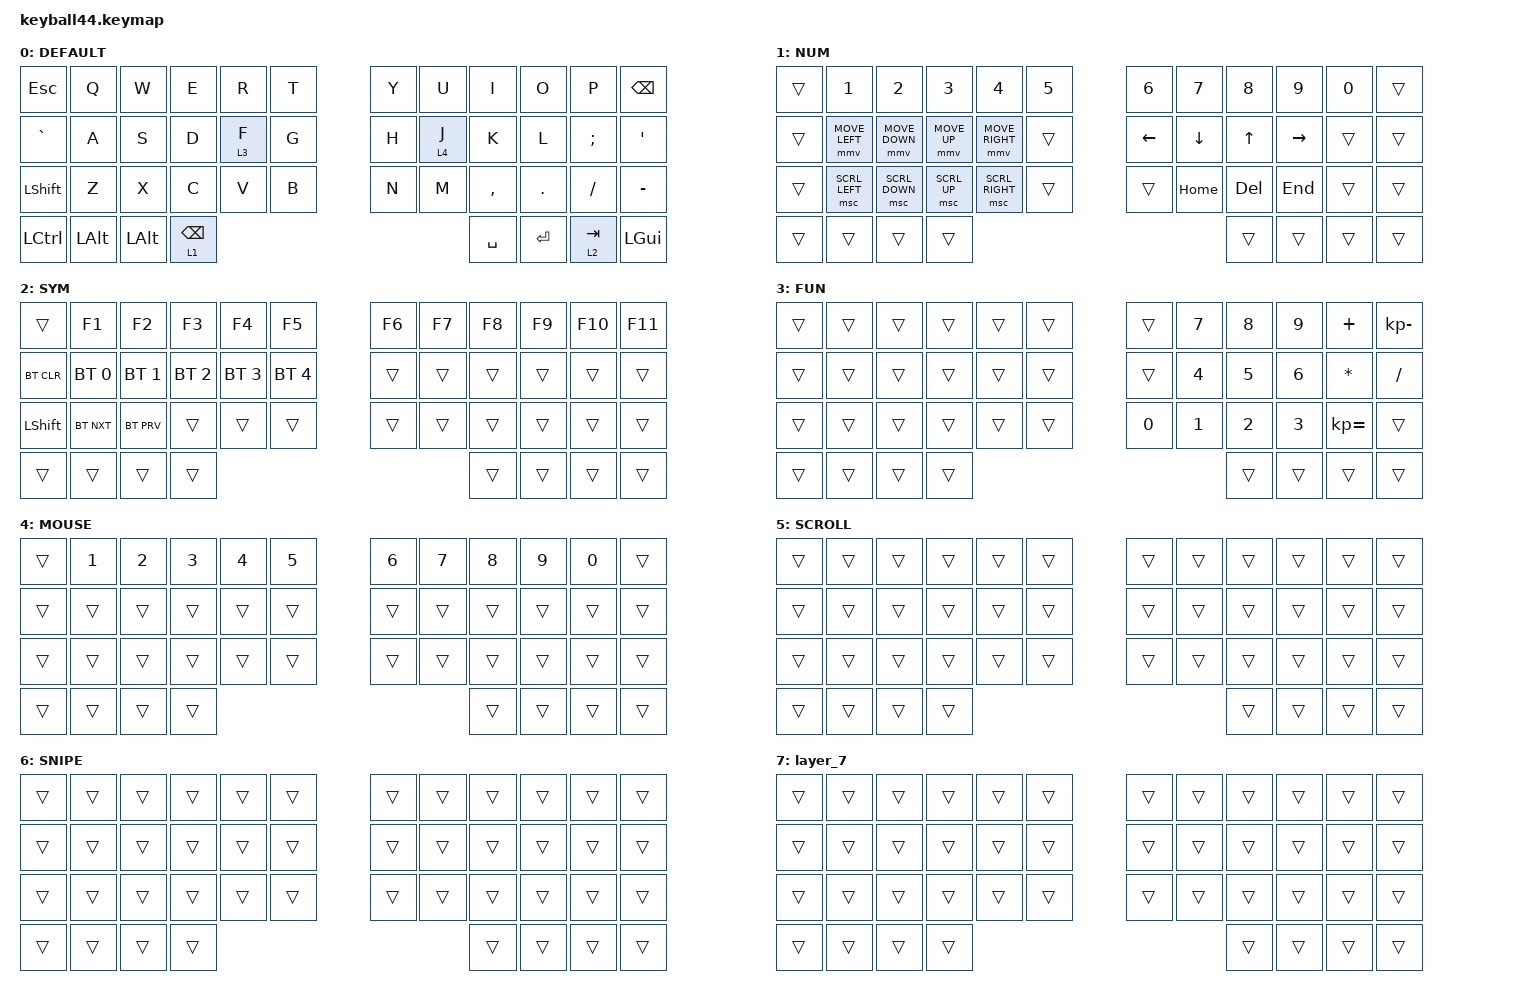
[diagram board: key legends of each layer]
#define DEFAULT 0
#define NUM     1
#define SYM     2
#define FUN     3
#define MOUSE   4
#define SCROLL  5
#define SNIPE   6

#include <behaviors/mouse_keys.dtsi>
#include <dt-bindings/zmk/mouse.h>
#include <behaviors.dtsi>
#include <dt-bindings/zmk/bt.h>
#include <dt-bindings/zmk/keys.h>
// #include <dt-bindings/zmk/pointing.h>

&lt {
    tapping-term-ms = <240>;
    flavor = "balanced";
    quick-tap-ms = <150>;
};

&mt {
    tapping-term-ms = <200>;
    flavor = "tap-preferred";
    quick-tap-ms = <150>;
};

&caps_word { continue-list = <UNDERSCORE MINUS>; };

/ {
    // custom shift using mod-morph 

    behaviors {
        cmqus: comma_question {
            compatible = "zmk,behavior-mod-morph";
            label = "COMMA_QUESTION";
            #binding-cells = <0>;
            bindings = <&kp COMMA>, <&kp QUESTION>;

            mods = <(MOD_LSFT|MOD_RSFT)>;
        };

        dtsmi: dot_semi {
            compatible = "zmk,behavior-mod-morph";
            label = "DOT_SEMI";
            #binding-cells = <0>;
            bindings = <&kp DOT>, <&kp SEMI>;

            mods = <(MOD_LSFT|MOD_RSFT)>;
        };
    };

    keymap {
        compatible = "zmk,keymap";

        default_layer {
            label = "DEFAULT";

            // -----------------------------------------------------------------------------------------
            // |  TAB |  Q  |  W  |  E  |  R  |  T  |   |  Y  |  U   |  I  |  O  |  P  | BKSP |
            // | CTRL |  A  |  S  |  D  |  F  |  G  |   |  H  |  J   |  K  |  L  |  ;  |  '   |
            // | SHFT |  Z  |  X  |  C  |  V  |  B  |   |  N  |  M   |  ,  |  .  |  /  | ESC  |
            //                    | GUI | LWR | SPC |   | ENT | RSE  | ALT |

            bindings = <
&kp ESCAPE      &kp Q     &kp W     &kp E            &kp R      &kp T                 &kp Y      &kp U    &kp I      &kp O    &kp P     &kp BSPC
&kp GRAVE       &kp A     &kp S     &kp D            &lt 3 F    &kp G                 &kp H      &lt 4 J  &kp K      &kp L    &kp SEMI  &kp SQT
&kp LEFT_SHIFT  &kp Z     &kp X     &kp C            &kp V      &kp B                 &kp N      &kp M    &kp COMMA  &kp DOT  &kp FSLH  &kp MINUS
&kp LCTRL       &kp LALT  &kp LALT  &lt 1 BACKSPACE  &kp SPACE             &kp ENTER  &lt 2 TAB                                         &kp LEFT_GUI
            >;
        };

        number_layer {
            label = "NUM";

            // -----------------------------------------------------------------------------------------
            // |  TAB |  !  |  @  |  #  |  $  |  %  |   |  ^  |  &  |  *  |  (  |  )  | BKSP |
            // | CTRL |     |     |     |     |     |   |  -  |  =  |  [  |  ]  |  \  |  `   |
            // | SHFT |     |     |     |     |     |   |  _  |  +  |  {  |  }  | "|" |  ~   |
            //                    | GUI |     | SPC |   | ENT |     | ALT |

            bindings = <
&trans  &kp NUMBER_1    &kp NUMBER_2    &kp NUMBER_3  &kp NUMBER_4     &kp N5              &kp NUMBER_6  &kp N7    &kp N8   &kp N9     &kp N0  &trans
&trans  &mmv MOVE_LEFT  &mmv MOVE_DOWN  &mmv MOVE_UP  &mmv MOVE_RIGHT  &trans              &kp LEFT      &kp DOWN  &kp UP   &kp RIGHT  &trans  &trans
&trans  &msc SCRL_LEFT  &msc SCRL_DOWN  &msc SCRL_UP  &msc SCRL_RIGHT  &trans              &trans        &kp HOME  &kp DEL  &kp END    &trans  &trans
&trans  &trans          &trans          &trans        &trans                       &trans  &trans                                              &trans
            >;
        };

        function_layer {
            label = "SYM";

            // -----------------------------------------------------------------------------------------
            // |  TAB |  1  |  2  |  3  |  4  |  5  |   |  6  |  7  |  8  |  9  |  0  | BKSP |
            // | BTCLR| BT1 | BT2 | BT3 | BT4 | BT5 |   | LFT | DWN |  UP | RGT |     |      |
            // | SHFT |     |     |     |     |     |   |     |     |     |     |     |      |
            //                    | GUI |     | SPC |   | ENT |     | ALT |

            bindings = <
&trans      &kp F1        &kp F2        &kp F3        &kp F4        &kp F5                    &kp F6  &kp F7  &kp F8  &kp F9  &kp F10  &kp F11
&bt BT_CLR  &bt BT_SEL 0  &bt BT_SEL 1  &bt BT_SEL 2  &bt BT_SEL 3  &bt BT_SEL 4              &trans  &trans  &trans  &trans  &trans   &trans
&kp LSHFT   &bt BT_NXT    &bt BT_PRV    &trans        &trans        &trans                    &trans  &trans  &trans  &trans  &trans   &trans
&trans      &trans        &trans        &trans        &trans                          &trans  &trans                                   &trans
            >;
        };

        layer3 {
            label = "FUN";
            bindings = <
&trans  &trans  &trans  &trans  &trans  &trans              &trans  &kp N7        &kp N8        &kp N9        &kp PLUS      &kp KP_SUBTRACT
&trans  &trans  &trans  &trans  &trans  &trans              &trans  &kp NUMBER_4  &kp N5        &kp NUMBER_6  &kp ASTRK     &kp SLASH
&trans  &trans  &trans  &trans  &trans  &trans              &kp N0  &kp NUMBER_1  &kp NUMBER_2  &kp NUMBER_3  &kp KP_EQUAL  &trans
&trans  &trans  &trans  &trans  &trans              &trans  &trans                                                          &trans
            >;
        };

        mouse_layer {
            label = "MOUSE";
            bindings = <
&trans  &kp NUMBER_1  &kp NUMBER_2  &kp NUMBER_3  &kp NUMBER_4  &kp N5              &kp NUMBER_6  &kp N7  &kp N8  &kp N9  &kp N0  &trans
&trans  &trans        &trans        &trans        &trans        &trans              &trans        &trans  &trans  &trans  &trans  &trans
&trans  &trans        &trans        &trans        &trans        &trans              &trans        &trans  &trans  &trans  &trans  &trans
&trans  &trans        &trans        &trans        &trans                    &trans  &trans                                        &trans
            >;
        };

        scroll_layer {
            label = "SCROLL";
            bindings = <
&trans  &trans  &trans  &trans  &trans  &trans              &trans  &trans  &trans  &trans  &trans  &trans
&trans  &trans  &trans  &trans  &trans  &trans              &trans  &trans  &trans  &trans  &trans  &trans
&trans  &trans  &trans  &trans  &trans  &trans              &trans  &trans  &trans  &trans  &trans  &trans
&trans  &trans  &trans  &trans  &trans              &trans  &trans                                  &trans
            >;
        };

        snipe_layer {
            label = "SNIPE";
            bindings = <
&trans  &trans  &trans  &trans  &trans  &trans              &trans  &trans  &trans  &trans  &trans  &trans
&trans  &trans  &trans  &trans  &trans  &trans              &trans  &trans  &trans  &trans  &trans  &trans
&trans  &trans  &trans  &trans  &trans  &trans              &trans  &trans  &trans  &trans  &trans  &trans
&trans  &trans  &trans  &trans  &trans              &trans  &trans                                  &trans
            >;
        };

        layer_7 {
            bindings = <
&trans  &trans  &trans  &trans  &trans  &trans              &trans  &trans  &trans  &trans  &trans  &trans
&trans  &trans  &trans  &trans  &trans  &trans              &trans  &trans  &trans  &trans  &trans  &trans
&trans  &trans  &trans  &trans  &trans  &trans              &trans  &trans  &trans  &trans  &trans  &trans
&trans  &trans  &trans  &trans  &trans              &trans  &trans                                  &trans
            >;
        };
    };
};
